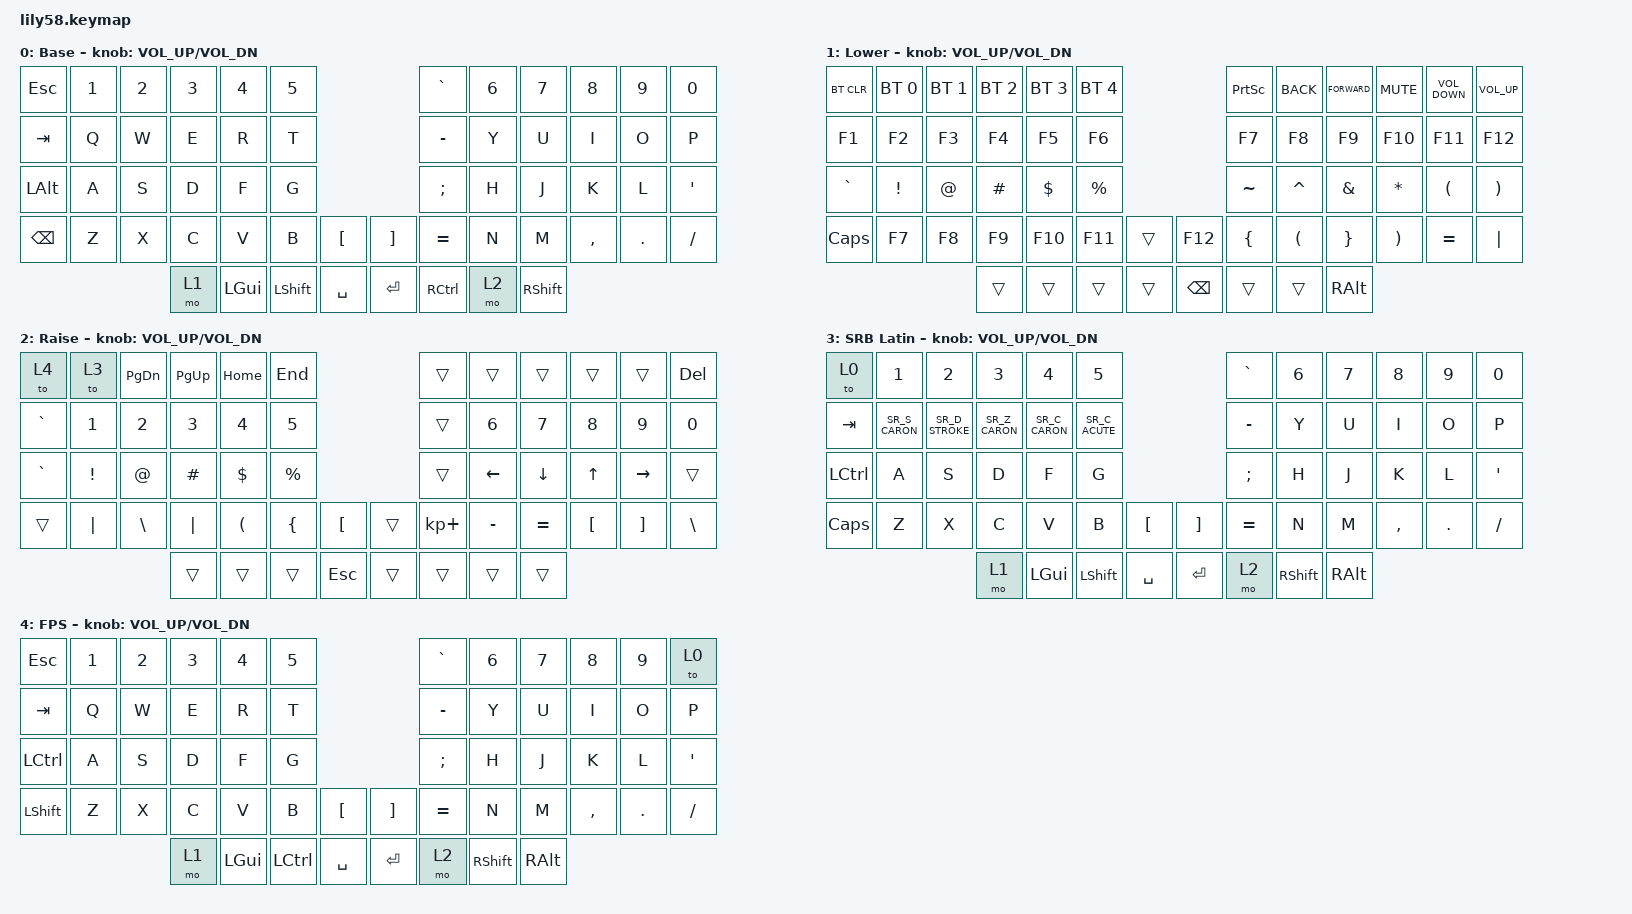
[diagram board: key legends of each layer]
/*
 * Copyright (c) 2020 The ZMK Contributors
 *
 * SPDX-License-Identifier: MIT
 */

#include "keys_sr.h"
#include "keys_sr_latin.h"
#include "keys_srb.h"
#include <behaviors.dtsi>
#include <dt-bindings/zmk/bt.h>
#include <dt-bindings/zmk/keys.h>

/ {
    keymap {
        compatible = "zmk,keymap";

        default_layer {
            // ------------------------------------------------------------------------------------------------------------
            // |  ESC  |  1  |  2  |  3   |  4   |  5   |                   |  6   |  7    |  8    |  9   |   0   |   `   |
            // |  TAB  |  Q  |  W  |  E   |  R   |  T   |                   |  Y   |  U    |  I    |  O   |   P   |   -   |
            // |  CTRL |  A  |  S  |  D   |  F   |  G   |                   |  H   |  J    |  K    |  L   |   ;   |   '   |
            // | SHIFT |  Z  |  X  |  C   |  V   |  B   |   "["  |  |  "]"  |  N   |  M    |  ,    |  .   |   /   | SHIFT |
            //                     | ALT  | GUI  | LOWER|  SPACE |  | ENTER | RAISE| BSPC  | GUI   |

            display-name = "Base";
            bindings = <
&kp ESC        &kp N1  &kp N2  &kp N3  &kp N4        &kp N5                                 &kp GRAVE          &kp NUMBER_6  &kp N7      &kp N8     &kp N9   &kp N0
&kp TAB        &kp Q   &kp W   &kp E   &kp R         &kp T                                  &kp MINUS          &kp Y         &kp U       &kp I      &kp O    &kp P
&kp LEFT_ALT   &kp A   &kp S   &kp D   &kp F         &kp G                                  &kp SEMI           &kp H         &kp J       &kp K      &kp L    &kp SQT
&kp BACKSPACE  &kp Z   &kp X   &kp C   &kp V         &kp B           &kp LBKT     &kp RBKT  &kp EQUAL          &kp N         &kp M       &kp COMMA  &kp DOT  &kp SLASH
                               &mo 1   &kp LEFT_GUI  &kp LEFT_SHIFT  &kp SPACE    &kp RET   &kp RIGHT_CONTROL  &mo 2         &kp RSHIFT
            >;

            sensor-bindings = <&inc_dec_kp C_VOL_UP C_VOL_DN>;
        };

        lower_layer {
            // ------------------------------------------------------------------------------------------------------------
            // | BTCLR | BT1 | BT2 |  BT3 |  BT4 |  BT5 |                   |      |       |       |      |       |       |
            // |  F1   |  F2 |  F3 |  F4  |  F5  |  F6  |                   |  F7  |  F8   |  F9   |  F10 |  F11  |  F12  |
            // |   `   |  !  |  @  |  #   |  $   |  %   |                   |  ^   |  &    |  *    |  (   |   )   |   ~   |
            // |       |     |     |      |      |      |        |  |       |      |  _    |  +    |  {   |   }   |  "|"  |
            //                     |      |      |      |        |  |       |      |       |       |

            display-name = "Lower";
            bindings = <
&bt BT_CLR    &bt BT_SEL 0  &bt BT_SEL 1  &bt BT_SEL 2  &bt BT_SEL 3  &bt BT_SEL 4                           &kp PRINTSCREEN  &kp K_BACK            &kp K_FORWARD    &kp K_MUTE             &kp K_VOLUME_DOWN     &kp K_VOLUME_UP
&kp F1        &kp F2        &kp F3        &kp F4        &kp F5        &kp F6                                 &kp F7           &kp F8                &kp F9           &kp F10                &kp F11               &kp F12
&kp GRAVE     &kp EXCL      &kp AT        &kp HASH      &kp DOLLAR    &kp PRCNT                              &kp TILDE        &kp CARET             &kp AMPS         &kp STAR               &kp LEFT_PARENTHESIS  &kp RIGHT_PARENTHESIS
&kp CAPSLOCK  &kp F7        &kp F8        &kp F9        &kp F10       &kp F11       &trans    &kp F12        &kp LEFT_BRACE   &kp LEFT_PARENTHESIS  &kp RIGHT_BRACE  &kp RIGHT_PARENTHESIS  &kp EQUAL             &kp PIPE
                                          &trans        &trans        &trans        &trans    &kp BACKSPACE  &trans           &trans                &kp RIGHT_ALT
            >;

            sensor-bindings = <&inc_dec_kp C_VOL_UP C_VOL_DN>;
        };

        raise_layer {
            // ------------------------------------------------------------------------------------------------------------
            // |       |     |     |      |      |      |                   |      |       |       |      |       |       |
            // |   `   |  1  |  2  |  3   |  4   |  5   |                   |  6   |   7   |   8   |  9   |   0   |       |
            // |   F1  |  F2 |  F3 |  F4  |  F5  |  F6  |                   |      |   <-  |   v   |  ^   |  ->   |       |
            // |   F7  |  F8 |  F9 |  F10 |  F11 |  F12 |        |  |       |  +   |   -   |   =   |  [   |   ]   |   \   |
            //                     |      |      |      |        |  |       |      |       |       |

            display-name = "Raise";
            bindings = <
&to 4      &to 3            &kp PAGE_DOWN  &kp PAGE_UP  &kp HOME              &kp END                                     &trans       &trans        &trans     &trans    &trans     &kp DEL
&kp GRAVE  &kp N1           &kp N2         &kp N3       &kp N4                &kp N5                                      &trans       &kp NUMBER_6  &kp N7     &kp N8    &kp N9     &kp N0
&kp GRAVE  &kp EXCLAMATION  &kp AT         &kp HASH     &kp DOLLAR            &kp PERCENT                                 &trans       &kp LEFT      &kp DOWN   &kp UP    &kp RIGHT  &trans
&trans     &kp PIPE         &kp BACKSLASH  &kp PIPE     &kp LEFT_PARENTHESIS  &kp LEFT_BRACE  &kp LEFT_BRACKET    &trans  &kp KP_PLUS  &kp MINUS     &kp EQUAL  &kp LBKT  &kp RBKT   &kp BSLH
                                           &trans       &trans                &trans          &kp ESCAPE          &trans  &trans       &trans        &trans
            >;

            sensor-bindings = <&inc_dec_kp C_VOL_UP C_VOL_DN>;
        };

        srb_latin {
            // ------------------------------------------------------------------------------------------------------------
            // |  ESC  |  1  |  2  |  3   |  4   |  5   |                   |  6   |  7    |  8    |  9   |   0   |   `   |
            // |  TAB  |  Q  |  W  |  E   |  R   |  T   |                   |  Y   |  U    |  I    |  O   |   P   |   -   |
            // |  CTRL |  A  |  S  |  D   |  F   |  G   |                   |  H   |  J    |  K    |  L   |   ;   |   '   |
            // | SHIFT |  Z  |  X  |  C   |  V   |  B   |   "["  |  |  "]"  |  N   |  M    |  ,    |  .   |   /   | SHIFT |
            //                     | ALT  | GUI  | LOWER|  SPACE |  | ENTER | RAISE| BSPC  | GUI   |

            display-name = "SRB Latin";
            bindings = <
&to 0      &kp N1          &kp N2           &kp N3          &kp N4          &kp N5                                 &kp GRAVE  &kp NUMBER_6     &kp N7         &kp N8     &kp N9   &kp N0
&kp TAB    &kp SR_S_CARON  &kp SR_D_STROKE  &kp SR_Z_CARON  &kp SR_C_CARON  &kp SR_C_ACUTE                         &kp MINUS  &kp Y            &kp U          &kp I      &kp O    &kp P
&kp LCTRL  &kp A           &kp S            &kp D           &kp F           &kp G                                  &kp SEMI   &kp H            &kp J          &kp K      &kp L    &kp SQT
&kp CAPS   &kp Z           &kp X            &kp C           &kp V           &kp B           &kp LBKT     &kp RBKT  &kp EQUAL  &kp N            &kp M          &kp COMMA  &kp DOT  &kp SLASH
                                            &mo 1           &kp LEFT_GUI    &kp LEFT_SHIFT  &kp SPACE    &kp RET   &mo 2      &kp RIGHT_SHIFT  &kp RIGHT_ALT
            >;

            sensor-bindings = <&inc_dec_kp C_VOL_UP C_VOL_DN>;
        };

        fps {
            // ------------------------------------------------------------------------------------------------------------
            // |  ESC  |  1  |  2  |  3   |  4   |  5   |                   |  6   |  7    |  8    |  9   |   0   |   `   |
            // |  TAB  |  Q  |  W  |  E   |  R   |  T   |                   |  Y   |  U    |  I    |  O   |   P   |   -   |
            // |  CTRL |  A  |  S  |  D   |  F   |  G   |                   |  H   |  J    |  K    |  L   |   ;   |   '   |
            // | SHIFT |  Z  |  X  |  C   |  V   |  B   |   "["  |  |  "]"  |  N   |  M    |  ,    |  .   |   /   | SHIFT |
            //                     | ALT  | GUI  | LOWER|  SPACE |  | ENTER | RAISE| BSPC  | GUI   |

            display-name = "FPS";
            bindings = <
&kp ESC         &kp N1  &kp N2  &kp N3  &kp N4        &kp N5                                   &kp GRAVE  &kp NUMBER_6     &kp N7         &kp N8     &kp N9   &to 0
&kp TAB         &kp Q   &kp W   &kp E   &kp R         &kp T                                    &kp MINUS  &kp Y            &kp U          &kp I      &kp O    &kp P
&kp LCTRL       &kp A   &kp S   &kp D   &kp F         &kp G                                    &kp SEMI   &kp H            &kp J          &kp K      &kp L    &kp SQT
&kp LEFT_SHIFT  &kp Z   &kp X   &kp C   &kp V         &kp B             &kp LBKT     &kp RBKT  &kp EQUAL  &kp N            &kp M          &kp COMMA  &kp DOT  &kp SLASH
                                &mo 1   &kp LEFT_GUI  &kp LEFT_CONTROL  &kp SPACE    &kp RET   &mo 2      &kp RIGHT_SHIFT  &kp RIGHT_ALT
            >;

            sensor-bindings = <&inc_dec_kp C_VOL_UP C_VOL_DN>;
        };

        extra_3 { status = "reserved"; };
    };
};
